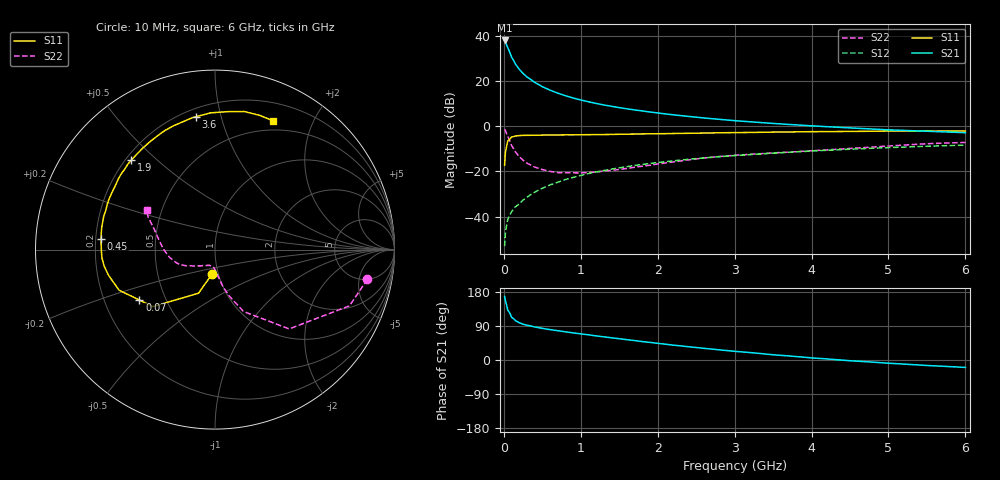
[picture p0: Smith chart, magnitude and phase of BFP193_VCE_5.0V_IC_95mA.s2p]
! Infineon Technologies  Discrete & RF Semiconductors
! BFP193
! VCE =  5.0 V,  IC =  95 mA
! Common Emitter S-Parameters:  Jan 2017
# GHz  S  MA  R  50
!  f  S11  S21  S12  S22
! GHz  MAG  ANG  MAG  ANG  MAG  ANG  MAG  ANG
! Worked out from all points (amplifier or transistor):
!   77 points, 10 MHz to 6 GHz, reference 50 ohm
!   highest |S21| = 38.1 dB at 10 MHz (marker M1)
!   |S21| within 3 dB of that: start of sweep to 48.02 MHz
!   unconditionally stable (mu >= 1): 297.8 MHz to 2.558 GHz
!   at 130 MHz: K = 0.76, MSG = 32.7 dB, |S12| = -36.5 dB
!   at 2.2 GHz: K = 1.02, MAG = 9.4 dB, |S12| = -15.3 dB
!   at 6 GHz: K = 0.93, MSG = 2.8 dB, |S12| = -8.3 dB
!   S11 on the Smith chart (normalised r, x): 10 MHz: 0.93, -0.26; 70 MHz: 0.35, -0.27; 450 MHz: 0.22, +0.04; 1.9 GHz: 0.22, +0.41; 3.6 GHz: 0.25, +0.84; 6 GHz: 0.39, +1.48
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0.01  0.1376 -96.8  80.35 167.6  0.0022 83.7  0.8653 -11.0
0.02  0.2597 -110.7  76.2 156.5  0.0042 80.4  0.8122 -22.7
0.05  0.4701 -137.5  55.86 131.8  0.0084 62.6  0.6051 -46.9
0.07  0.5068 -146.3  46.77 126.3  0.0102 61.5  0.5093 -52.3
0.1  0.5804 -157.1  34.47 112.8  0.0128 60.4  0.3794 -65.3
0.15  0.6102 -166.4  24.15 103.9  0.0164 62.9  0.271 -72.9
0.2  0.6245 -171.6  18.47 98.5  0.0189 67.5  0.2135 -77.7
0.25  0.6312 -175.6  14.91 94.5  0.0231 66.9  0.178 -80.4
0.3  0.6326 -178.5  12.47 91.8  0.0267 69.1  0.1524 -83.1
0.4  0.636 176.8  9.452 87.1  0.0345 70.9  0.1252 -86.7
0.45  0.6373 174.7  8.512 85.5  0.0384 71.7  0.1176 -88.5
0.6  0.6428 169.3  6.352 80.2  0.0503 71.8  0.1004 -94.3
0.7  0.6444 166.4  5.455 77.4  0.0576 72.5  0.0942 -97.2
0.9  0.6464 160.2  4.25 71.6  0.0737 70.3  0.0932 -105.3
1.1  0.6539 154.7  3.508 66.4  0.0897 68.9  0.0949 -112.3
1.9  0.6823 133.2  2.082 46.5  0.1501 59.3  0.1372 -138.7
2.1  0.6889 128.1  1.889 41.7  0.1645 56.6  0.1541 -143.8
3.1  0.7293 107.0  1.3 21.3  0.2304 43.5  0.2337 -163.5
3.6  0.7478 98.2  1.132 12.3  0.26 37.7  0.2627 -172.6
4.1  0.7632 90.4  1.005 4.2  0.2888 31.6  0.294 177.0
5.1  0.786 76.7  0.825 -9.6  0.3424 19.7  0.3751 158.8
6  0.787 65.6  0.723 -19.6  0.3837 9.4  0.4402 149.8
